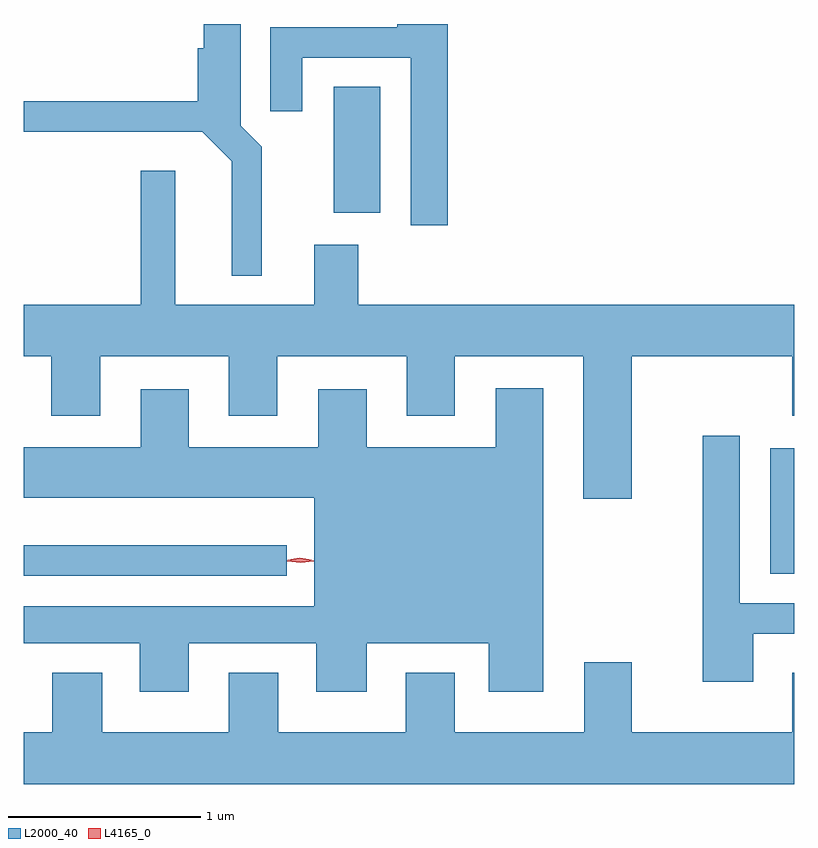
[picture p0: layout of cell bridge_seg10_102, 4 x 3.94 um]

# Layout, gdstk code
import gdstk
lib = gdstk.Library(unit=1e-6, precision=1e-09)
def R(c, l, rs):  # rectangles x0, y0, x1, y1
    for r in rs: c.add(gdstk.rectangle(r[:2], r[2:], *l))
def P(c, l, *ps):  # polygons
    for p in ps: c.add(gdstk.Polygon(p, *l))
L2000_40 = (2000, 40)
L4165_0 = (4165, 0)

bridge_seg10_102 = lib.new_cell('bridge_seg10_102')
R(bridge_seg10_102, L2000_40, [(1596.332,2121.656,1597.698,2121.814), (1600.206,2121.666,1600.332,2122.319), (1597.941,2123.541,1598.184,2124.194)])
P(bridge_seg10_102, L2000_40, [(1597.569,2123.882),(1597.459,2123.992),(1597.459,2124.52),(1597.266,2124.52),(1597.266,2124.394),(1597.236,2124.394),(1597.236,2124.119),(1596.332,2124.119),(1596.332,2123.961),(1597.259,2123.961),(1597.411,2123.809),(1597.411,2123.213),(1597.569,2123.213)],
  [(1598.534,2124.52),(1598.271,2124.52),(1598.271,2124.504),(1597.611,2124.504),(1597.611,2124.068),(1597.779,2124.068),(1597.779,2124.346),(1598.341,2124.346),(1598.341,2123.476),(1598.534,2123.476)],
  [(1599.489,2122.796),(1600.321,2122.796),(1600.321,2122.486),(1600.332,2122.486),(1600.332,2123.064),(1598.069,2123.064),(1598.069,2123.374),(1597.841,2123.374),(1597.841,2123.064),(1597.119,2123.064),(1597.119,2123.759),(1596.941,2123.759),(1596.941,2123.064),(1596.332,2123.064),(1596.332,2122.796),(1596.476,2122.796),(1596.476,2122.486),(1596.729,2122.486),(1596.729,2122.796),(1597.396,2122.796),(1597.396,2122.486),(1597.649,2122.486),(1597.649,2122.796),(1598.321,2122.796),(1598.321,2122.486),(1598.569,2122.486),(1598.569,2122.796),(1599.236,2122.796),(1599.236,2122.056),(1599.489,2122.056)],
  [(1597.189,2121.306),(1597.851,2121.306),(1597.851,2121.056),(1598.114,2121.056),(1598.114,2121.306),(1598.746,2121.306),(1598.746,2121.056),(1599.029,2121.056),(1599.029,2122.629),(1598.781,2122.629),(1598.781,2122.324),(1598.114,2122.324),(1598.114,2122.624),(1597.861,2122.624),(1597.861,2122.324),(1597.189,2122.324),(1597.189,2122.624),(1596.941,2122.624),(1596.941,2122.324),(1596.332,2122.324),(1596.332,2122.061),(1597.841,2122.061),(1597.841,2121.499),(1596.332,2121.499),(1596.332,2121.306),(1596.936,2121.306),(1596.936,2121.056),(1597.189,2121.056)],
  [(1600.119,2121.356),(1600.332,2121.356),(1600.332,2121.514),(1600.049,2121.514),(1600.049,2122.384),(1599.856,2122.384),(1599.856,2121.106),(1600.119,2121.106)],
  [(1600.332,2121.154),(1600.321,2121.154),(1600.321,2120.844),(1599.489,2120.844),(1599.489,2121.209),(1599.241,2121.209),(1599.241,2120.844),(1598.569,2120.844),(1598.569,2121.154),(1598.316,2121.154),(1598.316,2120.844),(1597.654,2120.844),(1597.654,2121.154),(1597.396,2121.154),(1597.396,2120.844),(1596.739,2120.844),(1596.739,2121.154),(1596.481,2121.154),(1596.481,2120.844),(1596.332,2120.844),(1596.332,2120.576),(1600.332,2120.576)])
P(bridge_seg10_102, L4165_0, [(1597.769,2121.724),(1597.7,2121.733),(1597.699,2121.734),(1597.7,2121.734),(1597.769,2121.744),(1597.837,2121.734),(1597.838,2121.734),(1597.837,2121.733)],
  [(1597.765,2121.73),(1597.704,2121.74),(1597.703,2121.74),(1597.704,2121.74),(1597.765,2121.75),(1597.827,2121.74),(1597.828,2121.74),(1597.827,2121.74)])

lib.write_gds('bridge_seg10_102.gds')
